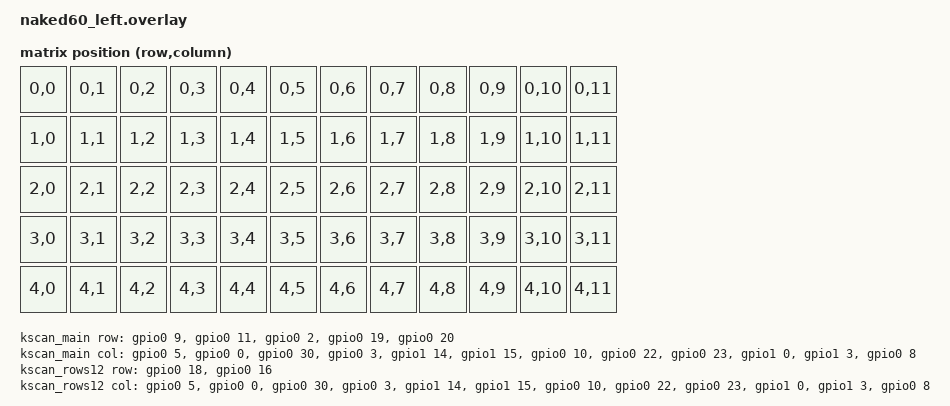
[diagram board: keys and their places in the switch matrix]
#include <dt-bindings/zmk/matrix_transform.h>
#include "layouts.dtsi"

/ {
    chosen {
        zmk,physical-layout = &physical_layout0;
        zmk,kscan = &kscan_composite;
    };

    default_transform: keymap_transform_0 {
        compatible = "zmk,matrix-transform";
        columns = <12>;
        rows = <5>;
        map = <
            RC(0,0) RC(0,1) RC(0,2) RC(0,3) RC(0,4) RC(0,5) RC(0,6) RC(0,7) RC(0,8) RC(0,9) RC(0,10) RC(0,11)
            RC(1,0) RC(1,1) RC(1,2) RC(1,3) RC(1,4) RC(1,5) RC(1,6) RC(1,7) RC(1,8) RC(1,9) RC(1,10) RC(1,11)
            RC(2,0) RC(2,1) RC(2,2) RC(2,3) RC(2,4) RC(2,5) RC(2,6) RC(2,7) RC(2,8) RC(2,9) RC(2,10) RC(2,11)
            RC(3,0) RC(3,1) RC(3,2) RC(3,3) RC(3,4) RC(3,5) RC(3,6) RC(3,7) RC(3,8) RC(3,9) RC(3,10) RC(3,11)
            RC(4,0) RC(4,1) RC(4,2) RC(4,3) RC(4,4) RC(4,5) RC(4,6) RC(4,7) RC(4,8) RC(4,9) RC(4,10) RC(4,11)
        >;
    };

    kscan_composite: kscan_composite {
        compatible = "zmk,kscan-composite";
        rows = <5>;
        columns = <12>;

        main {
            kscan = <&kscan_main>;
        };

        rows12 {
            kscan = <&kscan_rows12>;
            row-offset = <1>;
        };
    };

    kscan_main: kscan_main {
        compatible = "zmk,kscan-gpio-matrix";
        wakeup-source;
        diode-direction = "col2row";

        row-gpios
            = <&gpio0 9  (GPIO_ACTIVE_HIGH | GPIO_PULL_DOWN)> /* Row0: P0.9  */
            ,<&gpio0 11 (GPIO_ACTIVE_HIGH | GPIO_PULL_DOWN)> /* Row1ダミー(PIN2) */
            ,<&gpio0 2  (GPIO_ACTIVE_HIGH | GPIO_PULL_DOWN)> /* Row2ダミー */
            ,<&gpio0 19 (GPIO_ACTIVE_HIGH | GPIO_PULL_DOWN)> /* Row3: P0.19 */
            ,<&gpio0 20 (GPIO_ACTIVE_HIGH | GPIO_PULL_DOWN)> /* Row4: P0.20 */
            ;

        col-gpios
            = <&gpio0 5  GPIO_ACTIVE_HIGH>
            ,<&gpio0 0  GPIO_ACTIVE_HIGH>
            ,<&gpio0 30 GPIO_ACTIVE_HIGH>
            ,<&gpio0 3  GPIO_ACTIVE_HIGH>
            ,<&gpio1 14 GPIO_ACTIVE_HIGH>
            ,<&gpio1 15 GPIO_ACTIVE_HIGH>
            ,<&gpio0 10 GPIO_ACTIVE_HIGH>
            ,<&gpio0 22 GPIO_ACTIVE_HIGH>
            ,<&gpio0 23 GPIO_ACTIVE_HIGH>
            ,<&gpio1 0  GPIO_ACTIVE_HIGH>
            ,<&gpio1 3  GPIO_ACTIVE_HIGH>
            ,<&gpio0 8  GPIO_ACTIVE_HIGH>
            ;
    };

    kscan_rows12: kscan_rows12 {
        compatible = "zmk,kscan-gpio-matrix";
        wakeup-source;
        diode-direction = "col2row";

        row-gpios
            = <&gpio0 18 GPIO_ACTIVE_LOW> /* Row1: P0.18 */
            ,<&gpio0 16 GPIO_ACTIVE_LOW> /* Row2: P0.16 */
            ;

        col-gpios
            = <&gpio0 5  GPIO_ACTIVE_LOW>
            ,<&gpio0 0  GPIO_ACTIVE_LOW>
            ,<&gpio0 30 GPIO_ACTIVE_LOW>
            ,<&gpio0 3  GPIO_ACTIVE_LOW>
            ,<&gpio1 14 GPIO_ACTIVE_LOW>
            ,<&gpio1 15 GPIO_ACTIVE_LOW>
            ,<&gpio0 10 GPIO_ACTIVE_LOW>
            ,<&gpio0 22 GPIO_ACTIVE_LOW>
            ,<&gpio0 23 GPIO_ACTIVE_LOW>
            ,<&gpio1 0  GPIO_ACTIVE_LOW>
            ,<&gpio1 3  GPIO_ACTIVE_LOW>
            ,<&gpio0 8  GPIO_ACTIVE_LOW>
            ;
    };
};

&physical_layout0 {
    kscan = <&kscan_composite>;
    transform = <&default_transform>;
};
